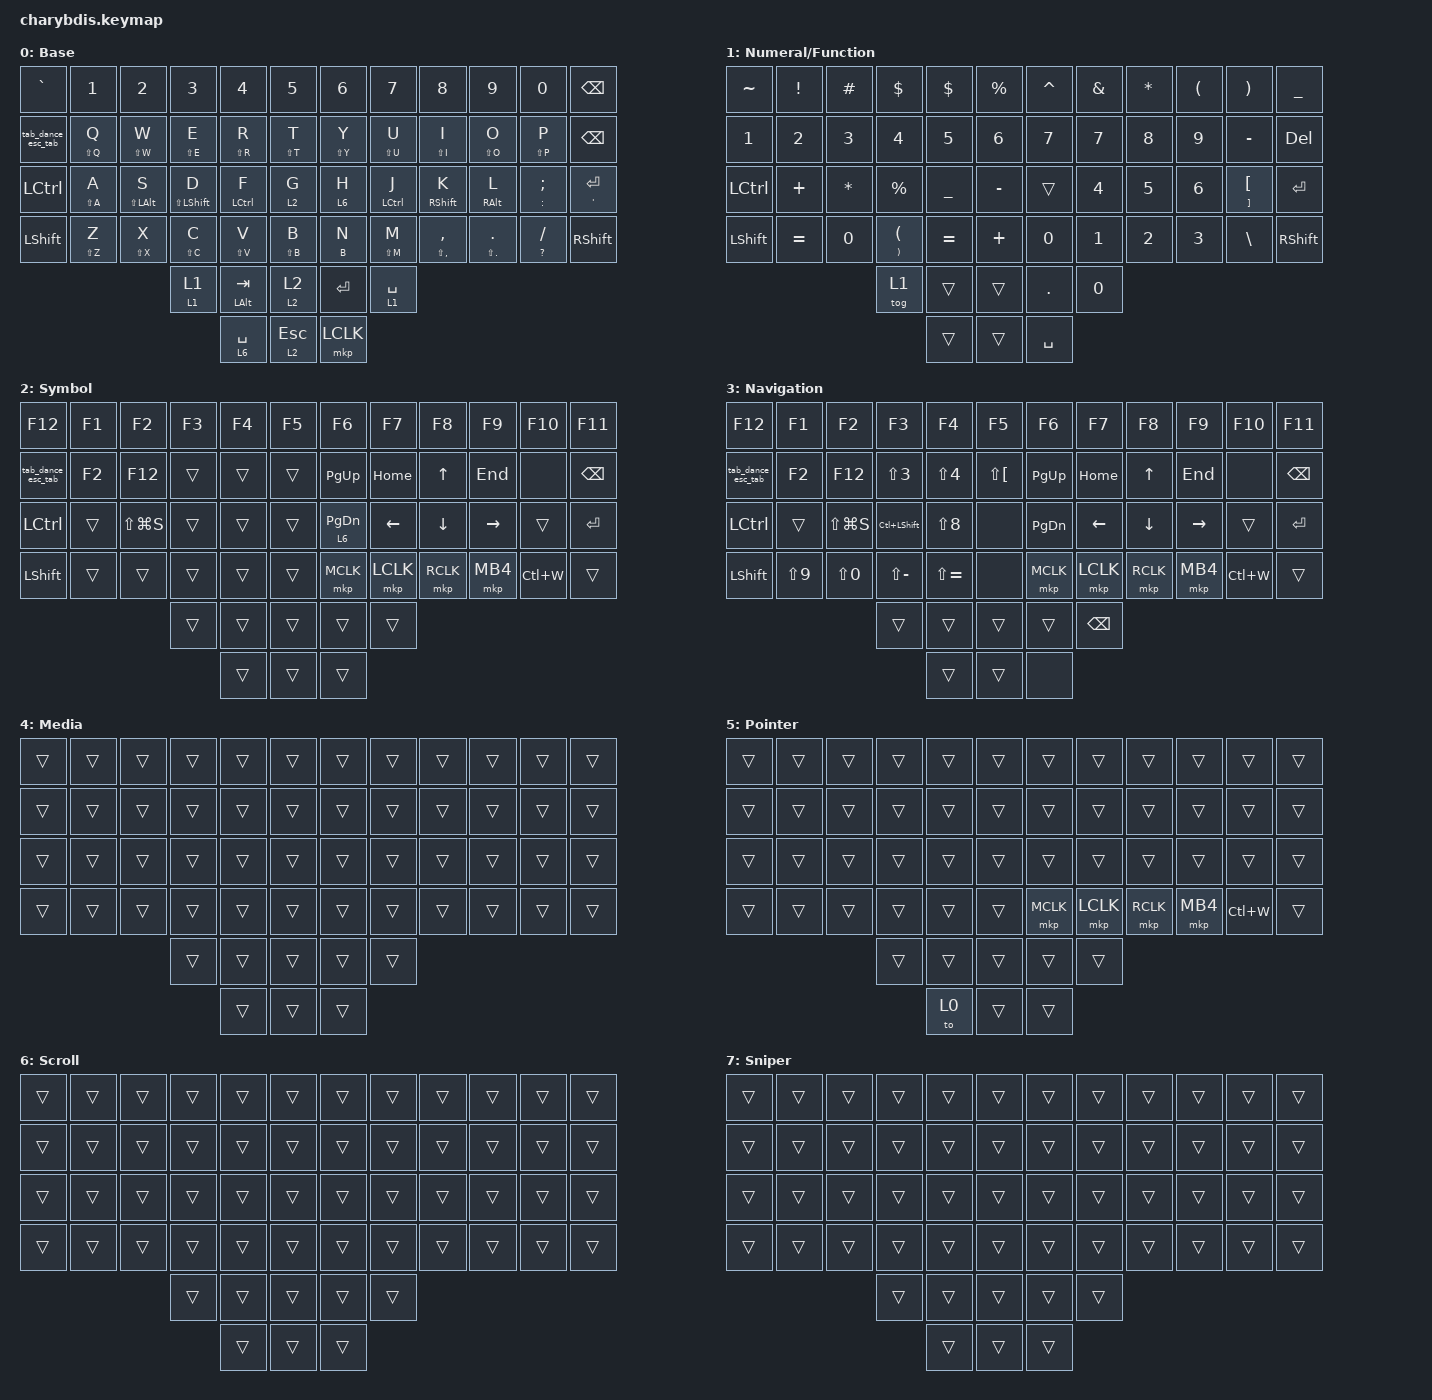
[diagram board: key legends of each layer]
#include <dt-bindings/zmk/mouse.h>
#include <behaviors/mouse_keys.dtsi>
#include <behaviors.dtsi>
#include <dt-bindings/zmk/keys.h>

#define BASE 0
#define NUFU 1
#define SYM 2
#define NAV 3
#define MED 4
#define POI 5
#define SCR 6
#define SNI 7

&sl { release-after-ms = <250>; };

&mt {
    tapping-term-ms = <200>;
    require-prior-idle-ms = <150>;
};

/ {
    combos {
        compatible = "zmk,combos";

        com_bs {
            bindings = <&kp BACKSPACE>;
            key-positions = <31 32>;
            layers = <0 1>;
        };

        com_del {
            bindings = <&kp DEL>;
            key-positions = <32 33>;
            layers = <0 1>;
        };

        com_exe {
            bindings = <&kp LC(E)>;
            key-positions = <14 15 16>;
        };

        com_lgui {
            bindings = <&kp LEFT_WIN>;
            key-positions = <36 37>;
        };

        com_left_p {
            bindings = <&kp LEFT_PARENTHESIS>;
            key-positions = <19 20>;
            layers = <0>;
        };

        com_f5 {
            bindings = <&kp F5>;
            key-positions = <16 17>;
            layers = <0>;
        };

        com_plus {
            bindings = <&kp EQUAL>;
            key-positions = <33 34>;
            layers = <0>;
        };

        com_asta {
            bindings = <&kp ASTRK>;
            key-positions = <18 19>;
            layers = <0>;
        };

        com_right_p {
            bindings = <&kp RIGHT_PARENTHESIS>;
            key-positions = <20 21>;
        };

        com_ctrl_c {
            bindings = <&kp LC(C)>;
            key-positions = <27 28>;
        };

        com_ctrl_v {
            bindings = <&kp LC(V)>;
            key-positions = <39 40>;
        };

        com_ctrl_z {
            bindings = <&kp LC(Z)>;
            key-positions = <26 27>;
        };

        com_ctrl_x {
            bindings = <&kp LC(X)>;
            key-positions = <39 38>;
        };

        com_tidle {
            bindings = <&kp TILDE>;
            key-positions = <12 13>;
        };

        com_at {
            bindings = <&kp AT_SIGN>;
            key-positions = <13 14>;
        };

        com_unders {
            bindings = <&kp LS(MINUS)>;
            key-positions = <21 22>;
        };

        com_minus {
            bindings = <&kp MINUS>;
            key-positions = <31 20>;
        };

        com_caps {
            bindings = <&hold CAPS RIGHT_ALT>;
            key-positions = <52 31>;
        };
    };

    behaviors {
        hml: homewrow_mods_left {
            compatible = "zmk,behavior-hold-tap";
            label = "HOMEROW_MODS_LEFT_HAND";
            bindings = <&kp>, <&kp>;

            #binding-cells = <2>;
            tapping-term-ms = <280>;
            hold-trigger-key-positions = <5 6 7 8 9 15 16 17 18 19 25 26 27 28 29 33 34>;
            flavor = "balanced";
            quick-tap-ms = <175>;
            require-prior-idle-ms = <125>;
            hold-trigger-on-release;
        };

        hmr: homewrow_mods_right {
            compatible = "zmk,behavior-hold-tap";
            label = "HOMEROW_MODS_RIGHT_HAND";
            bindings = <&kp>, <&kp>;

            #binding-cells = <2>;
            tapping-term-ms = <280>;
            hold-trigger-key-positions = <0 1 2 3 4 10 11 12 13 14 20 21 22 23 24 30 31 32>;
            flavor = "balanced";
            quick-tap-ms = <175>;
            require-prior-idle-ms = <125>;
            hold-trigger-on-release;
        };

        tab_dance_esc_tab: tab_dance_esc_tab {
            compatible = "zmk,behavior-tap-dance";
            label = "TAB_DANCE_ESC_TAB";
            #binding-cells = <0>;
            bindings = <&hold ESC TAB>, <&kp GRAVE>;
        };

        hold: hold {
            compatible = "zmk,behavior-hold-tap";
            label = "HOLD";
            bindings = <&kp>, <&kp>;

            #binding-cells = <2>;
            tapping-term-ms = <270>;
            flavor = "balanced";
        };

        tog_layer: tog_layer {
            compatible = "zmk,behavior-hold-tap";
            label = "TOG_LAYER";
            bindings = <&tog>, <&tog>;

            #binding-cells = <2>;
            tapping-term-ms = <200>;
        };

        mo_to: mo_to {
            compatible = "zmk,behavior-hold-tap";
            label = "MO_TO";
            bindings = <&mo>, <&tog>;

            #binding-cells = <2>;
            tapping-term-ms = <200>;
            flavor = "balanced";
        };
    };

    keymap {
        compatible = "zmk,keymap";

        Base {
            label = "Base";
            bindings = <
&kp GRAVE           &kp N1         &kp N2                &kp N3                  &kp N4                &kp N5            &kp N6         &kp N7                 &kp N8                 &kp N9             &kp N0                &kp BACKSPACE
&tab_dance_esc_tab  &hold LS(Q) Q  &hold LS(W) W         &hold LS(E) E           &hold LS(R) R         &hold LS(T) T     &hold LS(Y) Y  &hold LS(U) U          &hold LS(I) I          &hold LS(O) O      &hold LS(P) P         &kp BACKSPACE
&kp LEFT_CONTROL    &hold LS(A) A  &hold LS(LEFT_ALT) S  &hold LS(LEFT_SHIFT) D  &hold LEFT_CONTROL F  &lt 2 G           &lt 6 H        &hold LEFT_CONTROL J   &hold RIGHT_SHIFT K    &hold RIGHT_ALT L  &hold COLON SEMI      &hold SINGLE_QUOTE ENTER
&kp LEFT_SHIFT      &hold LS(Z) Z  &hold LS(X) X         &hold LS(C) C           &hold LS(V) V         &hold LS(B) B     &hold B N      &hold LS(M) M          &hold LS(COMMA) COMMA  &hold LS(DOT) DOT  &hold QUESTION SLASH  &kp RSHFT
                                                         &mo_to 1 1              &hold LEFT_ALT TAB    &mo_to 2 2        &kp ENTER      &lt 1 SPACE
                                                                                 &lt 6 SPACE           &lt 2 ESC         &mkp LCLK
            >;
        };

        NuFu {
            label = "Numeral/Function";
            bindings = <
&kp TILDE         &kp EXCLAMATION  &kp HASH      &kp DOLLAR                                &kp DOLLAR      &kp PERCENT    &kp CARET  &kp AMPERSAND  &kp ASTERISK  &kp LEFT_PARENTHESIS  &kp RIGHT_PARENTHESIS             &kp UNDERSCORE
&kp N1            &kp N2           &kp N3        &kp N4                                    &kp N5          &kp N6         &kp N7     &kp N7         &kp N8        &kp N9                &kp MINUS                         &kp DEL
&kp LEFT_CONTROL  &kp PLUS         &kp ASTERISK  &kp PERCENT                               &kp UNDERSCORE  &kp MINUS      &trans     &kp N4         &kp N5        &kp N6                &hold RIGHT_BRACKET LEFT_BRACKET  &kp RET
&kp LSHFT         &kp EQUAL        &kp NUMBER_0  &hold RIGHT_PARENTHESIS LEFT_PARENTHESIS  &kp EQUAL       &kp PLUS       &kp N0     &kp N1         &kp N2        &kp N3                &kp BSLH                          &kp RSHFT
                                                 &tog 1                                    &trans          &trans         &kp DOT    &kp N0
                                                                                           &trans          &trans         &kp SPACE
            >;
        };

        Symbol {
            label = "Symbol";
            bindings = <
&kp F12             &kp F1  &kp F2         &kp F3  &kp F4  &kp F5    &kp F6           &kp F7     &kp F8     &kp F9     &kp F10    &kp F11
&tab_dance_esc_tab  &kp F2  &kp F12        &trans  &trans  &trans    &kp PAGE_UP      &kp HOME   &kp UP     &kp END    &none      &kp BSPC
&kp LEFT_CONTROL    &trans  &kp LS(LG(S))  &trans  &trans  &trans    &lt 6 PAGE_DOWN  &kp LEFT   &kp DOWN   &kp RIGHT  &trans     &kp RET
&kp LEFT_SHIFT      &trans  &trans         &trans  &trans  &trans    &mkp MCLK        &mkp LCLK  &mkp RCLK  &mkp MB4   &kp LC(W)  &trans
                                           &trans  &trans  &trans    &trans           &trans
                                                   &trans  &trans    &trans
            >;
        };

        Navigation {
            label = "Navigation";
            bindings = <
&kp F12             &kp F1      &kp F2         &kp F3              &kp F4         &kp F5          &kp F6         &kp F7         &kp F8     &kp F9     &kp F10    &kp F11
&tab_dance_esc_tab  &kp F2      &kp F12        &kp LS(N3)          &kp LS(N4)     &kp LS(LBKT)    &kp PAGE_UP    &kp HOME       &kp UP     &kp END    &none      &kp BSPC
&kp LEFT_CONTROL    &trans      &kp LS(LG(S))  &kp LC(LEFT_SHIFT)  &kp LS(N8)     &none           &kp PAGE_DOWN  &kp LEFT       &kp DOWN   &kp RIGHT  &trans     &kp RET
&kp LEFT_SHIFT      &kp LS(N9)  &kp LS(N0)     &kp LS(MINUS)       &kp LS(EQUAL)  &none           &mkp MCLK      &mkp LCLK      &mkp RCLK  &mkp MB4   &kp LC(W)  &trans
                                               &trans              &trans         &trans          &trans         &kp BACKSPACE
                                                                   &trans         &trans          &none
            >;
        };

        Media {
            label = "Media";
            bindings = <
&trans  &trans  &trans  &trans  &trans  &trans    &trans  &trans  &trans  &trans  &trans  &trans
&trans  &trans  &trans  &trans  &trans  &trans    &trans  &trans  &trans  &trans  &trans  &trans
&trans  &trans  &trans  &trans  &trans  &trans    &trans  &trans  &trans  &trans  &trans  &trans
&trans  &trans  &trans  &trans  &trans  &trans    &trans  &trans  &trans  &trans  &trans  &trans
                        &trans  &trans  &trans    &trans  &trans
                                &trans  &trans    &trans
            >;
        };

        Pointer {
            label = "Pointer";
            bindings = <
&trans  &trans  &trans  &trans  &trans  &trans    &trans     &trans     &trans     &trans    &trans     &trans
&trans  &trans  &trans  &trans  &trans  &trans    &trans     &trans     &trans     &trans    &trans     &trans
&trans  &trans  &trans  &trans  &trans  &trans    &trans     &trans     &trans     &trans    &trans     &trans
&trans  &trans  &trans  &trans  &trans  &trans    &mkp MCLK  &mkp LCLK  &mkp RCLK  &mkp MB4  &kp LC(W)  &trans
                        &trans  &trans  &trans    &trans     &trans
                                &to 0   &trans    &trans
            >;
        };

        Scroll {
            label = "Scroll";
            bindings = <
&trans  &trans  &trans  &trans  &trans  &trans    &trans  &trans  &trans  &trans  &trans  &trans
&trans  &trans  &trans  &trans  &trans  &trans    &trans  &trans  &trans  &trans  &trans  &trans
&trans  &trans  &trans  &trans  &trans  &trans    &trans  &trans  &trans  &trans  &trans  &trans
&trans  &trans  &trans  &trans  &trans  &trans    &trans  &trans  &trans  &trans  &trans  &trans
                        &trans  &trans  &trans    &trans  &trans
                                &trans  &trans    &trans
            >;
        };

        Sniper {
            label = "Sniper";
            bindings = <
&trans  &trans  &trans  &trans  &trans  &trans    &trans  &trans  &trans  &trans  &trans  &trans
&trans  &trans  &trans  &trans  &trans  &trans    &trans  &trans  &trans  &trans  &trans  &trans
&trans  &trans  &trans  &trans  &trans  &trans    &trans  &trans  &trans  &trans  &trans  &trans
&trans  &trans  &trans  &trans  &trans  &trans    &trans  &trans  &trans  &trans  &trans  &trans
                        &trans  &trans  &trans    &trans  &trans
                                &trans  &trans    &trans
            >;
        };
    };
};
